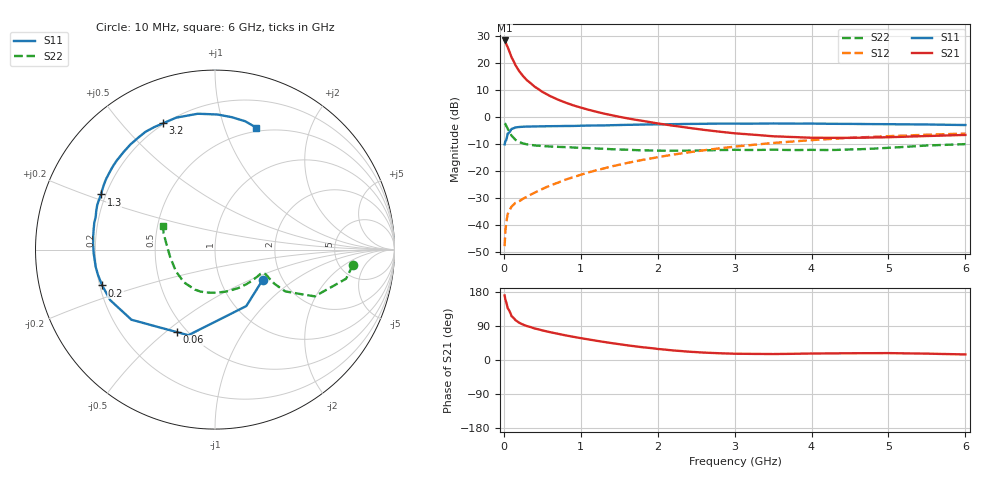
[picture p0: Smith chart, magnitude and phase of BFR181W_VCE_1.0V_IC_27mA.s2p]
! Infineon Technologies  Discrete & RF Semiconductors
! BFR181W
! VCE =  1.0 V,  IC =  27 mA
! Common Emitter S-Parameters:  Jan 2017
# GHz  S  MA  R  50
!  f  S11  S21  S12  S22
! GHz  MAG  ANG  MAG  ANG  MAG  ANG  MAG  ANG
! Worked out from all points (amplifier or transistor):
!   77 points, 10 MHz to 6 GHz, reference 50 ohm
!   highest |S21| = 28.4 dB at 10 MHz (marker M1)
!   |S21| within 3 dB of that: start of sweep to 57.27 MHz
!   unconditionally stable (mu >= 1): start of sweep to 18.75 MHz; 167.1 MHz to end of sweep
!   at 130 MHz: K = 0.86, MSG = 26.4 dB, |S12| = -32.3 dB
!   at 2.2 GHz: K = 1.42, MAG = 1.5 dB, |S12| = -13.9 dB
!   at 6 GHz: K = 1.27, MAG = -3.4 dB, |S12| = -6.0 dB
!   S11 on the Smith chart (normalised r, x): 10 MHz: 1.58, -0.60; 60 MHz: 0.44, -0.55; 200 MHz: 0.21, -0.15; 1.3 GHz: 0.18, +0.22; 3.2 GHz: 0.20, +0.65; 6 GHz: 0.46, +1.29
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0.01  0.3148 -32.6  26.39 170.4  0.0041 68.9  0.7729 -6.4
0.02  0.3596 -61.0  25.1 159.8  0.0078 66.3  0.7483 -12.5
0.05  0.4996 -107.3  19.81 136.7  0.0161 55.2  0.6142 -25.1
0.06  0.5063 -114.8  18.28 133.8  0.0173 52.9  0.5822 -26.0
0.1  0.6078 -140.0  12.89 115.7  0.0221 46.3  0.4562 -30.7
0.15  0.648 -154.2  9.254 105.3  0.0259 46.1  0.3823 -29.9
0.2  0.6596 -162.4  7.113 98.3  0.0279 47.6  0.3463 -28.2
0.25  0.6674 -168.0  5.774 93.4  0.031 50.2  0.3274 -26.9
0.3  0.6718 -171.9  4.844 89.5  0.0338 53.0  0.3142 -25.9
0.4  0.676 -178.0  3.678 83.2  0.0401 58.7  0.3009 -25.8
0.5  0.6796 177.5  2.953 78.1  0.047 62.3  0.2931 -26.7
0.6  0.6828 173.6  2.475 73.5  0.0543 64.3  0.2871 -28.2
0.7  0.6852 170.7  2.128 69.3  0.0612 67.8  0.2832 -30.1
0.9  0.6893 164.6  1.665 61.3  0.0774 69.7  0.2754 -35.2
1.1  0.7016 159.3  1.376 54.3  0.0954 71.5  0.2679 -41.1
1.3  0.7055 154.2  1.169 47.7  0.1128 71.8  0.2604 -47.7
2.1  0.7413 135.4  0.732 27.3  0.1923 67.9  0.2399 -80.2
3.1  0.7609 114.3  0.492 16.4  0.2949 56.8  0.2481 -119.9
3.2  0.7609 112.3  0.48 16.2  0.3044 55.5  0.2476 -123.3
4.1  0.7597 95.6  0.417 17.2  0.3846 44.1  0.2476 -154.7
5.1  0.7413 81.6  0.431 17.9  0.452 31.7  0.2766 171.3
6  0.7172 71.3  0.47 14.7  0.4993 21.8  0.318 155.1
